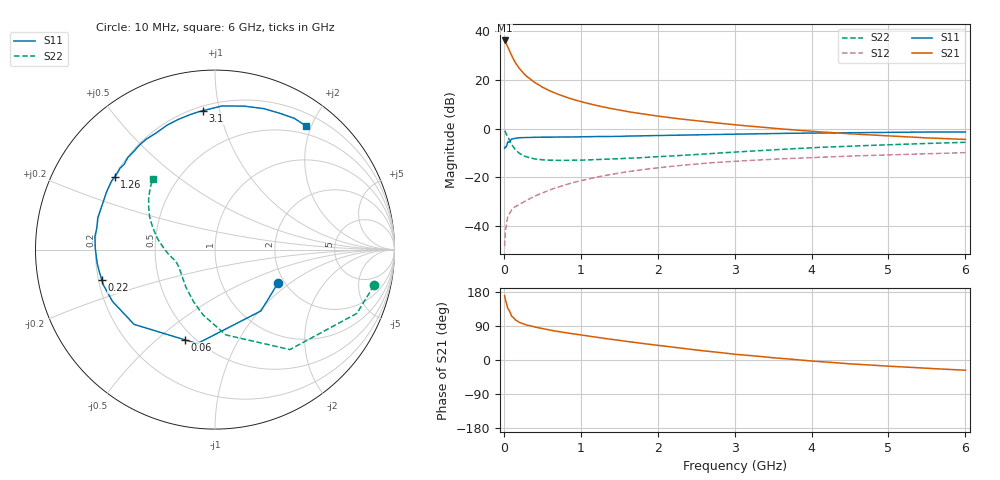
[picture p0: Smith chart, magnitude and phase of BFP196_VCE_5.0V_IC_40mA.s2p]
! Infineon Technologies  Discrete & RF Semiconductors
! BFP196
! VCE = 5.0 V,  IC =  40mA
! Common Emitter S-Parameters:  Jan 2016
# GHz  S  MA  R  50
!  f  S11  S21  S12  S22
! GHz  MAG  ANG  MAG  ANG  MAG  ANG  MAG  ANG
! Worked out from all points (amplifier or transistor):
!   210 points, 10 MHz to 6 GHz, reference 50 ohm
!   highest |S21| = 36.2 dB at 10 MHz (marker M1)
!   |S21| within 3 dB of that: start of sweep to 56.86 MHz
!   unconditionally stable (mu >= 1): 528.4 MHz to 4.369 GHz
!   at 185 MHz: K = 0.65, MSG = 28.4 dB, |S12| = -31.4 dB
!   at 1.52 GHz: K = 1.09, MAG = 11.0 dB, |S12| = -18.1 dB
!   at 6 GHz: K = 0.97, MSG = 2.7 dB, |S12| = -9.8 dB
!   S11 on the Smith chart (normalised r, x): 10 MHz: 1.85, -0.82; 60 MHz: 0.44, -0.62; 220 MHz: 0.21, -0.13; 1.26 GHz: 0.20, +0.31; 3.1 GHz: 0.23, +0.89; 6 GHz: 0.37, +1.92
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0.01  0.3975 -28.0  64.5 169.6  0.0039 80.3  0.9081 -12.7
0.02  0.427 -53.2  60.93 158.9  0.0078 72.3  0.8667 -24.2
0.05  0.5331 -100.7  48.21 136.4  0.0154 57.0  0.6958 -53.2
0.06  0.5301 -108.6  44.52 133.6  0.0166 54.6  0.6418 -57.4
0.1  0.614 -137.3  31.45 116.1  0.0215 47.7  0.4792 -82.7
0.15  0.6399 -153.2  22.44 105.7  0.0253 46.7  0.3707 -100.2
0.2  0.6527 -162.5  17.31 99.4  0.0277 48.5  0.3146 -112.2
0.22  0.6532 -165.0  15.96 97.9  0.0291 49.1  0.3 -115.7
0.26  0.6568 -169.6  13.5 94.6  0.0317 50.4  0.2767 -123.0
0.3  0.6608 -173.3  11.71 92.0  0.0342 52.6  0.263 -128.4
0.4  0.6673 179.3  8.884 87.1  0.0412 56.2  0.2403 -138.7
0.5  0.6728 173.9  7.119 82.9  0.0479 58.2  0.23 -145.6
0.6  0.6696 169.1  5.939 78.9  0.0558 59.4  0.2258 -150.6
0.7  0.6767 164.9  5.119 75.2  0.0628 60.0  0.2244 -154.1
0.8  0.6758 160.9  4.473 72.1  0.0706 59.6  0.2249 -157.2
1.02  0.6834 152.5  3.528 65.4  0.0871 59.0  0.2268 -161.7
1.26  0.6903 144.2  2.864 58.4  0.1057 56.9  0.234 -165.9
2.02  0.7246 121.6  1.798 38.3  0.1588 47.3  0.2675 -176.8
3.1  0.7767 95.0  1.166 13.6  0.2193 32.1  0.3382 166.3
4.1  0.8175 77.0  0.863 -4.1  0.2593 19.6  0.4138 152.1
5.1  0.8429 63.4  0.697 -17.3  0.294 8.6  0.4743 140.8
6  0.8554 53.6  0.603 -27.0  0.323 -1.4  0.5256 131.1
